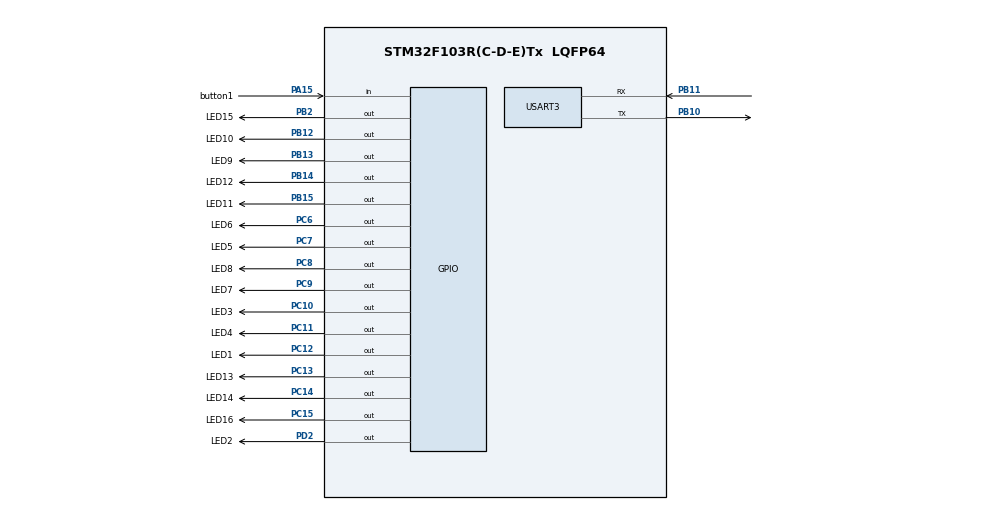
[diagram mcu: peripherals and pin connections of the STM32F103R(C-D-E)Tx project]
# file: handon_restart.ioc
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Mcu.Family=STM32F1
Mcu.Name=STM32F103R(C-D-E)Tx
Mcu.Package=LQFP64
NVIC.PriorityGroup=NVIC_PRIORITYGROUP_4
NVIC.USART3_IRQn=true\:0\:0\:false\:false\:true\:true\:true\:true
PA13.Mode=Serial_Wire
PA13.Signal=SYS_JTMS-SWDIO
PA14.Mode=Serial_Wire
PA14.Signal=SYS_JTCK-SWCLK
PA15.GPIO_Label=button1
PA15.GPIO_PuPd=GPIO_NOPULL
PA15.Signal=GPIO_Input
PB10.Mode=Asynchronous
PB10.Signal=USART3_TX
PB11.Mode=Asynchronous
PB11.Signal=USART3_RX
PB12.GPIO_Label=LED10
PB12.PinState=GPIO_PIN_RESET
PB12.Signal=GPIO_Output
PB13.GPIO_Label=LED9
PB13.PinState=GPIO_PIN_RESET
PB13.Signal=GPIO_Output
PB14.GPIO_Label=LED12
PB14.PinState=GPIO_PIN_RESET
PB14.Signal=GPIO_Output
PB15.GPIO_Label=LED11
PB15.PinState=GPIO_PIN_RESET
PB15.Signal=GPIO_Output
PB2.GPIO_Label=LED15
PB2.PinState=GPIO_PIN_RESET
PB2.Signal=GPIO_Output
PC10.GPIO_Label=LED3
PC10.PinState=GPIO_PIN_RESET
PC10.Signal=GPIO_Output
PC11.GPIO_Label=LED4
PC11.PinState=GPIO_PIN_RESET
PC11.Signal=GPIO_Output
PC12.GPIO_Label=LED1
PC12.GPIO_Speed=GPIO_SPEED_FREQ_LOW
PC12.PinState=GPIO_PIN_RESET
PC12.Signal=GPIO_Output
PC13-TAMPER-RTC.GPIO_Label=LED13
PC13-TAMPER-RTC.PinState=GPIO_PIN_RESET
PC13-TAMPER-RTC.Signal=GPIO_Output
PC14-OSC32_IN.GPIO_Label=LED14
PC14-OSC32_IN.PinState=GPIO_PIN_RESET
PC14-OSC32_IN.Signal=GPIO_Output
PC15-OSC32_OUT.GPIO_Label=LED16
PC15-OSC32_OUT.PinState=GPIO_PIN_RESET
PC15-OSC32_OUT.Signal=GPIO_Output
PC6.GPIO_Label=LED6
PC6.PinState=GPIO_PIN_RESET
PC6.Signal=GPIO_Output
PC7.GPIO_Label=LED5
PC7.PinState=GPIO_PIN_RESET
PC7.Signal=GPIO_Output
PC8.GPIO_Label=LED8
PC8.PinState=GPIO_PIN_RESET
PC8.Signal=GPIO_Output
PC9.GPIO_Label=LED7
PC9.PinState=GPIO_PIN_RESET
PC9.Signal=GPIO_Output
PD0-OSC_IN.Mode=HSE-External-Oscillator
PD0-OSC_IN.Signal=RCC_OSC_IN
PD1-OSC_OUT.Mode=HSE-External-Oscillator
PD1-OSC_OUT.Signal=RCC_OSC_OUT
PD2.GPIO_Label=LED2
PD2.PinState=GPIO_PIN_RESET
PD2.Signal=GPIO_Output
ProjectManager.HeapSize=0x200
ProjectManager.StackSize=0x400
ProjectManager.TargetToolchain=STM32CubeIDE
RCC.APB1Freq_Value=8000000
RCC.APB2Freq_Value=8000000
USART3.VirtualMode=VM_ASYNC
board=custom

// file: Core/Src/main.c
/* USER CODE BEGIN Header */
/**
  ******************************************************************************
  * @file           : main.c
  * @brief          : Main program body
  ******************************************************************************
  * @attention
  *
  * Copyright (c) 2023 STMicroelectronics.
  * All rights reserved.
  *
  * This software is licensed under terms that can be found in the LICENSE file
  * in the root directory of this software component.
  * If no LICENSE file comes with this software, it is provided AS-IS.
  *
  ******************************************************************************
  */
/* USER CODE END Header */
#include "main.h"

/* USER CODE BEGIN Includes */
#include "stdbool.h"
#include <string.h>
#include <stdlib.h>

/* USER CODE END Includes */

/* USER CODE BEGIN PM */
#define BUFFER_SIZE 16
#define LIGHT_ON "1\t\n"
#define LIGHT_OFF "0\t\n"

/* USER CODE END PM */

UART_HandleTypeDef huart3;

void SystemClock_Config(void);
static void MX_GPIO_Init(void);
static void MX_USART3_UART_Init(void);

/* USER CODE BEGIN 0 */
uint8_t bUartReceived1;
uint8_t u8RxCount1;
uint8_t commandBuff[BUFFER_SIZE];
char castCommand[BUFFER_SIZE];
char strCut[5][5];
char d[] = " \r\n";
char *p; //strtok
char *q; //strchr
int i=0;
int colState = GPIO_PIN_RESET;

void lightOnCol1(){
	HAL_GPIO_WritePin(LED1_GPIO_Port, LED1_Pin, GPIO_PIN_SET);
	HAL_GPIO_WritePin(LED2_GPIO_Port, LED2_Pin, GPIO_PIN_SET);
	HAL_GPIO_WritePin(LED3_GPIO_Port, LED3_Pin, GPIO_PIN_SET);
	HAL_GPIO_WritePin(LED4_GPIO_Port, LED4_Pin, GPIO_PIN_SET);
}
void lightOnCol2(){
	HAL_GPIO_WritePin(LED5_GPIO_Port, LED5_Pin, GPIO_PIN_SET);
	HAL_GPIO_WritePin(LED6_GPIO_Port, LED6_Pin, GPIO_PIN_SET);
	HAL_GPIO_WritePin(LED7_GPIO_Port, LED7_Pin, GPIO_PIN_SET);
	HAL_GPIO_WritePin(LED8_GPIO_Port, LED8_Pin, GPIO_PIN_SET);
}
void lightOnCol3(){
	HAL_GPIO_WritePin(LED9_GPIO_Port, LED9_Pin, GPIO_PIN_SET);
	HAL_GPIO_WritePin(LED10_GPIO_Port, LED10_Pin, GPIO_PIN_SET);
	HAL_GPIO_WritePin(LED11_GPIO_Port, LED11_Pin, GPIO_PIN_SET);
	HAL_GPIO_WritePin(LED12_GPIO_Port, LED12_Pin, GPIO_PIN_SET);
}
void lightOnCol4(){
	HAL_GPIO_WritePin(LED13_GPIO_Port, LED13_Pin, GPIO_PIN_SET);
	HAL_GPIO_WritePin(LED14_GPIO_Port, LED14_Pin, GPIO_PIN_SET);
	HAL_GPIO_WritePin(LED15_GPIO_Port, LED15_Pin, GPIO_PIN_SET);
	HAL_GPIO_WritePin(LED16_GPIO_Port, LED16_Pin, GPIO_PIN_SET);
}
void lightOffCol1(){
	HAL_GPIO_WritePin(LED1_GPIO_Port, LED1_Pin, GPIO_PIN_RESET);
	HAL_GPIO_WritePin(LED2_GPIO_Port, LED2_Pin, GPIO_PIN_RESET);
	HAL_GPIO_WritePin(LED3_GPIO_Port, LED3_Pin, GPIO_PIN_RESET);
	HAL_GPIO_WritePin(LED4_GPIO_Port, LED4_Pin, GPIO_PIN_RESET);
}
void lightOffCol2(){
	HAL_GPIO_WritePin(LED5_GPIO_Port, LED5_Pin, GPIO_PIN_RESET);
	HAL_GPIO_WritePin(LED6_GPIO_Port, LED6_Pin, GPIO_PIN_RESET);
	HAL_GPIO_WritePin(LED7_GPIO_Port, LED7_Pin, GPIO_PIN_RESET);
	HAL_GPIO_WritePin(LED8_GPIO_Port, LED8_Pin, GPIO_PIN_RESET);
}
void lightOffCol3(){
	HAL_GPIO_WritePin(LED9_GPIO_Port, LED9_Pin, GPIO_PIN_RESET);
	HAL_GPIO_WritePin(LED10_GPIO_Port, LED10_Pin, GPIO_PIN_RESET);
	HAL_GPIO_WritePin(LED11_GPIO_Port, LED11_Pin, GPIO_PIN_RESET);
	HAL_GPIO_WritePin(LED12_GPIO_Port, LED12_Pin, GPIO_PIN_RESET);
}
void lightOffCol4(){
	HAL_GPIO_WritePin(LED13_GPIO_Port, LED13_Pin, GPIO_PIN_RESET);
	HAL_GPIO_WritePin(LED14_GPIO_Port, LED14_Pin, GPIO_PIN_RESET);
	HAL_GPIO_WritePin(LED15_GPIO_Port, LED15_Pin, GPIO_PIN_RESET);
	HAL_GPIO_WritePin(LED16_GPIO_Port, LED16_Pin, GPIO_PIN_RESET);
}
void getStatus(int pin){
	if(pin==1){
		if(colState == HAL_GPIO_ReadPin(LED1_GPIO_Port, LED1_Pin)){
			HAL_UART_Transmit_IT(&huart3, (uint8_t*)LIGHT_OFF, strlen(LIGHT_OFF));
		}
		else if(colState != HAL_GPIO_ReadPin(LED1_GPIO_Port, LED1_Pin)){
			HAL_UART_Transmit_IT(&huart3, (uint8_t*)LIGHT_ON, strlen(LIGHT_ON));
		}
	}
	if(pin==2){
		if(colState == HAL_GPIO_ReadPin(LED5_GPIO_Port, LED5_Pin)){
			HAL_UART_Transmit_IT(&huart3, (uint8_t*)LIGHT_OFF, strlen(LIGHT_OFF));
		}
		else if(colState != HAL_GPIO_ReadPin(LED5_GPIO_Port, LED5_Pin)){
			HAL_UART_Transmit_IT(&huart3, (uint8_t*)LIGHT_ON, strlen(LIGHT_ON));
		}
	}
	if(pin==3){
		if(colState == HAL_GPIO_ReadPin(LED9_GPIO_Port, LED9_Pin)){
			HAL_UART_Transmit_IT(&huart3, (uint8_t*)LIGHT_OFF, strlen(LIGHT_OFF));
		}
		else if(colState != HAL_GPIO_ReadPin(LED9_GPIO_Port, LED9_Pin)){
			HAL_UART_Transmit_IT(&huart3, (uint8_t*)LIGHT_ON, strlen(LIGHT_ON));
		}
	}
	if(pin==4){
		if(colState == HAL_GPIO_ReadPin(LED13_GPIO_Port, LED13_Pin)){
			HAL_UART_Transmit_IT(&huart3, (uint8_t*)LIGHT_OFF, strlen(LIGHT_OFF));
		}
		else if(colState != HAL_GPIO_ReadPin(LED13_GPIO_Port, LED13_Pin)){
			HAL_UART_Transmit_IT(&huart3, (uint8_t*)LIGHT_ON, strlen(LIGHT_ON));
		}
	}

}
void errMsg(){
	HAL_UART_Transmit_IT(&huart3, (uint8_t*)"Invalid Format\n", strlen("Invalid Format\n"));
}
void cleanBuf(){
	for(int i=0; i<5; i++){
		for(int j=0; j<5; j++)
			strCut[i][j] = '\0';
	}
	memset(commandBuff, '\0', BUFFER_SIZE);
	memset(castCommand, '\0', BUFFER_SIZE);
	i=0;
}
/* USER CODE END 0 */

int main(void)
{

  /* MCU Configuration--------------------------------------------------------*/

  /* Reset of all peripherals, Initializes the Flash interface and the Systick. */
  HAL_Init();

  /* Configure the system clock */
  SystemClock_Config();

  /* Initialize all configured peripherals */
  MX_GPIO_Init();
  MX_USART3_UART_Init();
  /* USER CODE BEGIN 2 */

  HAL_UART_Receive_IT(&huart3, commandBuff, BUFFER_SIZE);

  /* USER CODE END 2 */

  /* Infinite loop */
  while (1)
  {

    /* USER CODE BEGIN 3 */

		if(bUartReceived1)
		{

			/*************************/

			/*do something to data*/

			/*************************/

			bUartReceived1 = false;

			HAL_UART_Receive_IT(&huart3, commandBuff, BUFFER_SIZE);

		}

		q = strchr(commandBuff, '\r');

		if(q != NULL){
			for(size_t i=0; i<BUFFER_SIZE; i++) {
				castCommand[i] = (char)commandBuff[i];
			}

			//split
			p = strtok(castCommand, d);
			while(p != NULL && i<5){
				for(int j=0; j<5; j++){
					if(p[j] != '\0') {
						strCut[i][j] = p[j];
					}
					else break;  // Skip remaining characters if the substring ends
				}
				i++;
				p = strtok(NULL, d);
			}
		}

		if(strcmp(strCut[0], "get")==0){ // get
			if(strcmp(strCut[2], "1")==0){
				getStatus(1);
			}
			else if(strcmp(strCut[2], "2")==0){
				getStatus(2);
			}
			else if(strcmp(strCut[2], "3")==0){
				getStatus(3);
			}
			else if(strcmp(strCut[2], "4")==0){
				getStatus(4);
			}
			else{
				errMsg();
			}
			cleanBuf();
		}
		else if(strcmp(strCut[0], "set")==0){ // set
			if(strcmp(strCut[2], "1")==0){
				if(strcmp(strCut[3], "1")==0){
					lightOnCol1();
				}
				else if(strcmp(strCut[3], "0")==0){
					lightOffCol1();
				}
			}
			else if(strcmp(strCut[2], "2")==0){
				if(strcmp(strCut[3], "1")==0){
					lightOnCol2();
				}
				else if(strcmp(strCut[3], "0")==0){
					lightOffCol2();
				}
			}
			else if(strcmp(strCut[2], "3")==0){
				if(strcmp(strCut[3], "1")==0){
					lightOnCol3();
				}
				else if(strcmp(strCut[3], "0")==0){
					lightOffCol3();
				}
			}
			else if(strcmp(strCut[2], "4")==0){
				if(strcmp(strCut[3], "1")==0){
					lightOnCol4();
				}
				else if(strcmp(strCut[3], "0")==0){
					lightOffCol4();
				}
			}
			else{
				errMsg();
			}
			cleanBuf();
		}

  } //end while

  /* USER CODE END 3 */
}

void SystemClock_Config(void)
{
  RCC_OscInitTypeDef RCC_OscInitStruct = {0};
  RCC_ClkInitTypeDef RCC_ClkInitStruct = {0};

  /** Initializes the RCC Oscillators according to the specified parameters
  * in the RCC_OscInitTypeDef structure.
  */
  RCC_OscInitStruct.OscillatorType = RCC_OSCILLATORTYPE_HSI;
  RCC_OscInitStruct.HSIState = RCC_HSI_ON;
  RCC_OscInitStruct.HSICalibrationValue = RCC_HSICALIBRATION_DEFAULT;
  RCC_OscInitStruct.PLL.PLLState = RCC_PLL_NONE;
  if (HAL_RCC_OscConfig(&RCC_OscInitStruct) != HAL_OK)
  {
    Error_Handler();
  }

  /** Initializes the CPU, AHB and APB buses clocks
  */
  RCC_ClkInitStruct.ClockType = RCC_CLOCKTYPE_HCLK|RCC_CLOCKTYPE_SYSCLK
                              |RCC_CLOCKTYPE_PCLK1|RCC_CLOCKTYPE_PCLK2;
  RCC_ClkInitStruct.SYSCLKSource = RCC_SYSCLKSOURCE_HSI;
  RCC_ClkInitStruct.AHBCLKDivider = RCC_SYSCLK_DIV1;
  RCC_ClkInitStruct.APB1CLKDivider = RCC_HCLK_DIV1;
  RCC_ClkInitStruct.APB2CLKDivider = RCC_HCLK_DIV1;

  if (HAL_RCC_ClockConfig(&RCC_ClkInitStruct, FLASH_LATENCY_0) != HAL_OK)
  {
    Error_Handler();
  }
}

static void MX_USART3_UART_Init(void)
{

  huart3.Instance = USART3;
  huart3.Init.BaudRate = 115200;
  huart3.Init.WordLength = UART_WORDLENGTH_8B;
  huart3.Init.StopBits = UART_STOPBITS_1;
  huart3.Init.Parity = UART_PARITY_NONE;
  huart3.Init.Mode = UART_MODE_TX_RX;
  huart3.Init.HwFlowCtl = UART_HWCONTROL_NONE;
  huart3.Init.OverSampling = UART_OVERSAMPLING_16;
  if (HAL_UART_Init(&huart3) != HAL_OK)
  {
    Error_Handler();
  }
  /* USER CODE BEGIN USART3_Init 2 */
  __HAL_UART_ENABLE_IT(&huart3,UART_IT_IDLE);
  /* USER CODE END USART3_Init 2 */

}

static void MX_GPIO_Init(void)
{
  GPIO_InitTypeDef GPIO_InitStruct = {0};

  /* GPIO Ports Clock Enable */
  __HAL_RCC_GPIOC_CLK_ENABLE();
  __HAL_RCC_GPIOD_CLK_ENABLE();
  __HAL_RCC_GPIOB_CLK_ENABLE();
  __HAL_RCC_GPIOA_CLK_ENABLE();

  /*Configure GPIO pin Output Level */
  HAL_GPIO_WritePin(GPIOC, LED13_Pin|LED14_Pin|LED16_Pin|LED6_Pin
                          |LED5_Pin|LED8_Pin|LED7_Pin|LED3_Pin
                          |LED4_Pin|LED1_Pin, GPIO_PIN_RESET);

  /*Configure GPIO pin Output Level */
  HAL_GPIO_WritePin(GPIOB, LED15_Pin|LED10_Pin|LED9_Pin|LED12_Pin
                          |LED11_Pin, GPIO_PIN_RESET);

  /*Configure GPIO pin Output Level */
  HAL_GPIO_WritePin(LED2_GPIO_Port, LED2_Pin, GPIO_PIN_RESET);

  /*Configure GPIO pins : LED13_Pin LED14_Pin LED16_Pin LED6_Pin
                           LED5_Pin LED8_Pin LED7_Pin LED3_Pin
                           LED4_Pin LED1_Pin */
  GPIO_InitStruct.Pin = LED13_Pin|LED14_Pin|LED16_Pin|LED6_Pin
                          |LED5_Pin|LED8_Pin|LED7_Pin|LED3_Pin
                          |LED4_Pin|LED1_Pin;
  GPIO_InitStruct.Mode = GPIO_MODE_OUTPUT_PP;
  GPIO_InitStruct.Pull = GPIO_NOPULL;
  GPIO_InitStruct.Speed = GPIO_SPEED_FREQ_LOW;
  HAL_GPIO_Init(GPIOC, &GPIO_InitStruct);

  /*Configure GPIO pins : LED15_Pin LED10_Pin LED9_Pin LED12_Pin
                           LED11_Pin */
  GPIO_InitStruct.Pin = LED15_Pin|LED10_Pin|LED9_Pin|LED12_Pin
                          |LED11_Pin;
  GPIO_InitStruct.Mode = GPIO_MODE_OUTPUT_PP;
  GPIO_InitStruct.Pull = GPIO_NOPULL;
  GPIO_InitStruct.Speed = GPIO_SPEED_FREQ_LOW;
  HAL_GPIO_Init(GPIOB, &GPIO_InitStruct);

  /*Configure GPIO pin : button1_Pin */
  GPIO_InitStruct.Pin = button1_Pin;
  GPIO_InitStruct.Mode = GPIO_MODE_INPUT;
  GPIO_InitStruct.Pull = GPIO_NOPULL;
  HAL_GPIO_Init(button1_GPIO_Port, &GPIO_InitStruct);

  /*Configure GPIO pin : LED2_Pin */
  GPIO_InitStruct.Pin = LED2_Pin;
  GPIO_InitStruct.Mode = GPIO_MODE_OUTPUT_PP;
  GPIO_InitStruct.Pull = GPIO_NOPULL;
  GPIO_InitStruct.Speed = GPIO_SPEED_FREQ_LOW;
  HAL_GPIO_Init(LED2_GPIO_Port, &GPIO_InitStruct);

}

/* USER CODE BEGIN 4 */
void HAL_UART_RxCpltCallback(UART_HandleTypeDef *huart){
	HAL_UART_Receive_IT(&huart3, commandBuff, BUFFER_SIZE);
}
void RxHalfCpltCallback(UART_HandleTypeDef *huart){
	HAL_UART_Receive_IT(&huart3, commandBuff, BUFFER_SIZE);
}
/* USER CODE END 4 */

void Error_Handler(void)
{
  __disable_irq();
  while (1)
  {
  }
}
